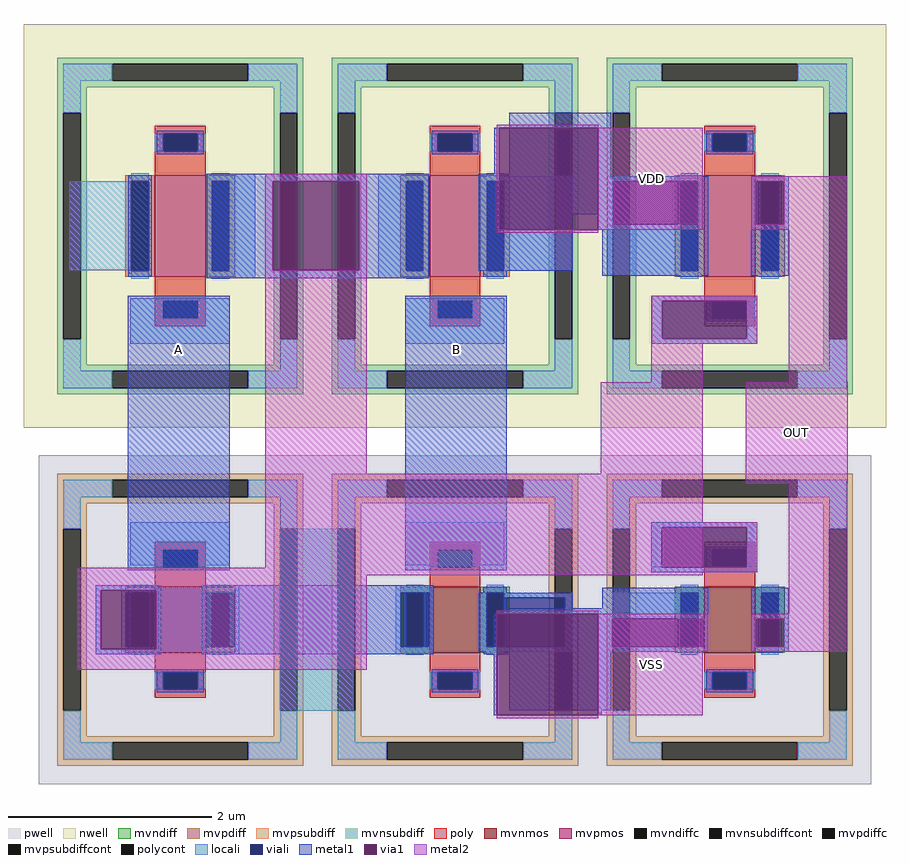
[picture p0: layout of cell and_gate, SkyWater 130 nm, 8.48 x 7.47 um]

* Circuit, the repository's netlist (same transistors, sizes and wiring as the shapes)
* NGSPICE file created from and_gate.ext - technology: sky130A

.subckt sky130_fd_pr__nfet_g5v0d10v5_CYDA8L a_n108_n65# a_n50_n153# a_n242_n287# a_50_n65#
X0 a_50_n65# a_n50_n153# a_n108_n65# a_n242_n287# sky130_fd_pr__nfet_g5v0d10v5 ad=0.1885 pd=1.88 as=0.1885 ps=1.88 w=0.65 l=0.5
.ends

.subckt sky130_fd_pr__pfet_g5v0d10v5_KLAZY6 a_n50_n197# a_50_n100# w_n308_n397# a_n108_n100#
X0 a_50_n100# a_n50_n197# a_n108_n100# w_n308_n397# sky130_fd_pr__pfet_g5v0d10v5 ad=0.29 pd=2.58 as=0.29 ps=2.58 w=1 l=0.5
.ends

.subckt nand_gate VDD A OUT B VSS
XXM1 OUT A VSS li_350_255# sky130_fd_pr__nfet_g5v0d10v5_CYDA8L
XXM2 li_350_255# B VSS VSS sky130_fd_pr__nfet_g5v0d10v5_CYDA8L
XXM3 A OUT VDD VDD sky130_fd_pr__pfet_g5v0d10v5_KLAZY6
XXM4 B VDD VDD OUT sky130_fd_pr__pfet_g5v0d10v5_KLAZY6
.ends

.subckt inverter VDD IN OUT VSS
XXM1 VSS IN VSS OUT sky130_fd_pr__nfet_g5v0d10v5_CYDA8L
XXM2 IN OUT VDD VDD sky130_fd_pr__pfet_g5v0d10v5_KLAZY6
.ends

.subckt and_gate VDD OUT A B VSS
Xx1 VDD A x2/IN B VSS nand_gate
Xx2 VDD x2/IN OUT VSS inverter
.ends

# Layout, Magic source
magic
tech sky130A
magscale 1 2
<< metal1 >>
rect 955 1290 1155 1320
rect 925 1090 935 1290
rect 1130 1090 1155 1290
rect 205 590 405 955
rect 750 590 950 955
rect 955 335 1155 345
rect 924 135 930 335
rect 1130 145 1155 335
rect 1130 135 1136 145
<< via1 >>
rect 935 1090 1130 1290
rect 930 135 1130 335
<< metal2 >>
rect 930 1290 1130 1296
rect 930 1090 935 1290
rect 1130 1090 1335 1290
rect 930 1084 1130 1090
rect 1135 610 1335 790
rect 475 410 1335 610
rect 1420 590 1620 790
rect 475 225 675 410
rect 930 335 1130 341
rect 1130 135 1335 335
rect 930 129 1130 135
use nand_gate  x1
transform 1 0 0 0 1 0
box 0 0 1156 1494
use inverter  x2
transform 1 0 1080 0 1 0
box 0 0 616 1494
<< labels >>
flabel metal2 1135 1090 1335 1290 0 FreeSans 256 0 0 0 VDD
port 1 nsew
flabel metal2 1135 135 1335 335 0 FreeSans 256 0 0 0 VSS
port 5 nsew
flabel metal1 205 755 405 955 0 FreeSans 256 0 0 0 A
port 3 nsew
flabel metal1 750 755 950 955 0 FreeSans 256 0 0 0 B
port 4 nsew
flabel metal2 1420 590 1620 790 0 FreeSans 256 0 0 0 OUT
port 2 nsew
<< end >>

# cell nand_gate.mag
magic
tech sky130A
magscale 1 2
<< locali >>
rect 90 1010 246 1185
rect 360 994 455 1200
rect 697 994 796 1200
rect 895 1009 1079 1195
rect 210 865 405 955
rect 750 865 945 955
rect 210 430 405 515
rect 274 426 342 430
rect 192 376 266 391
rect 192 270 202 376
rect 256 270 266 376
rect 192 255 266 270
rect 350 376 424 391
rect 350 270 360 376
rect 414 270 424 376
rect 350 255 424 270
rect 504 144 648 502
rect 750 430 945 515
rect 814 426 882 430
rect 732 376 806 391
rect 732 270 742 376
rect 796 270 806 376
rect 732 255 806 270
rect 895 270 910 376
rect 944 366 1079 376
rect 1064 270 1079 366
rect 895 260 1079 270
<< viali >>
rect 202 270 256 376
rect 360 270 414 376
rect 742 270 796 376
rect 910 366 944 376
rect 910 270 1064 366
<< metal1 >>
rect 955 1200 1155 1320
rect 360 1185 796 1200
rect 360 1010 490 1185
rect 660 1010 796 1185
rect 360 994 796 1010
rect 895 1120 1155 1200
rect 895 1009 1079 1120
rect 205 420 405 960
rect 750 420 950 960
rect 142 381 271 391
rect 142 265 152 381
rect 261 265 271 381
rect 142 255 271 265
rect 350 376 806 391
rect 350 270 360 376
rect 414 270 742 376
rect 796 270 806 376
rect 350 255 806 270
rect 895 270 910 376
rect 944 366 1079 376
rect 1064 345 1079 366
rect 1064 270 1155 345
rect 895 260 1155 270
rect 905 255 1155 260
rect 955 145 1155 255
<< via1 >>
rect 490 1010 660 1185
rect 152 376 261 381
rect 152 270 202 376
rect 202 270 256 376
rect 256 270 261 376
rect 152 265 261 270
<< metal2 >>
rect 475 1185 675 1200
rect 475 1010 490 1185
rect 660 1010 675 1185
rect 475 425 675 1010
rect 105 381 675 425
rect 105 265 152 381
rect 261 265 675 381
rect 105 225 675 265
use sky130_fd_pr__nfet_g5v0d10v5_CYDA8L  XM1
transform 1 0 308 0 1 323
box -278 -323 278 323
use sky130_fd_pr__nfet_g5v0d10v5_CYDA8L  XM2
transform 1 0 848 0 1 323
box -278 -323 278 323
use sky130_fd_pr__pfet_g5v0d10v5_KLAZY6  XM3
transform 1 0 308 0 1 1097
box -308 -397 308 397
use sky130_fd_pr__pfet_g5v0d10v5_KLAZY6  XM4
transform 1 0 848 0 1 1097
box -308 -397 308 397
<< labels >>
flabel metal1 205 590 405 790 0 FreeSans 256 0 0 0 A
port 2 nsew
flabel metal1 750 590 950 790 0 FreeSans 256 0 0 0 B
port 4 nsew
flabel metal2 475 225 675 425 0 FreeSans 256 0 0 0 OUT
port 3 nsew
flabel metal1 955 145 1155 345 0 FreeSans 256 0 0 0 VSS
port 5 nsew
flabel metal1 955 1120 1155 1320 0 FreeSans 256 0 0 0 VDD
port 1 nsew
<< end >>

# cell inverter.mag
magic
tech sky130A
magscale 1 2
<< locali >>
rect 67 999 246 1195
rect 175 875 342 950
rect 154 426 362 515
rect 77 270 246 376
<< metal1 >>
rect 57 1185 266 1195
rect 57 1100 80 1185
rect 245 1100 266 1185
rect 57 999 266 1100
rect 350 1185 424 1195
rect 350 1100 360 1185
rect 414 1100 424 1185
rect 350 999 424 1100
rect 155 950 362 960
rect 155 875 175 950
rect 342 875 362 950
rect 155 865 362 875
rect 154 505 362 515
rect 154 426 174 505
rect 342 426 362 505
rect 154 416 362 426
rect 57 325 266 386
rect 57 270 77 325
rect 256 270 266 325
rect 57 260 266 270
rect 350 325 424 386
rect 350 270 360 325
rect 414 270 424 325
rect 350 260 424 270
<< via1 >>
rect 80 1100 245 1185
rect 360 1100 414 1185
rect 175 875 342 950
rect 174 426 342 505
rect 77 270 256 325
rect 360 270 414 325
<< metal2 >>
rect 55 1185 255 1290
rect 55 1100 80 1185
rect 245 1100 255 1185
rect 55 1090 255 1100
rect 350 1185 539 1195
rect 350 1100 360 1185
rect 414 1100 539 1185
rect 350 1090 539 1100
rect 154 950 362 960
rect 154 875 175 950
rect 342 875 362 950
rect 154 865 362 875
rect 154 790 255 865
rect 424 790 539 1090
rect 55 590 255 790
rect 340 590 540 790
rect 154 515 255 590
rect 154 505 362 515
rect 154 426 174 505
rect 342 426 362 505
rect 154 416 362 426
rect 424 335 539 590
rect 55 325 266 335
rect 55 270 77 325
rect 256 270 266 325
rect 55 260 266 270
rect 350 325 539 335
rect 350 270 360 325
rect 414 270 539 325
rect 350 260 539 270
rect 55 135 255 260
use sky130_fd_pr__nfet_g5v0d10v5_CYDA8L  XM1
transform 1 0 308 0 1 323
box -278 -323 278 323
use sky130_fd_pr__pfet_g5v0d10v5_KLAZY6  XM2
transform 1 0 308 0 1 1097
box -308 -397 308 397
<< labels >>
flabel metal2 55 590 255 790 0 FreeSans 256 0 0 0 IN
port 2 nsew
flabel metal2 55 1090 255 1290 0 FreeSans 256 0 0 0 VDD
port 1 nsew
flabel metal2 55 135 255 335 0 FreeSans 256 0 0 0 VSS
port 4 nsew
flabel metal2 340 590 540 790 0 FreeSans 256 0 0 0 OUT
port 3 nsew
<< end >>

# cell sky130_fd_pr__nfet_g5v0d10v5_CYDA8L: kit device sky130_fd_pr__nfet_g5v0d10v5, w 0.65 l 0.5 m 1 nf 1 diffcov 100 polycov 100 guard 1 glc 1 grc 1 gtc 1 gbc 1 tbcov 100 rlcov 100 topc 1 botc 1 poverlap 0 doverlap 1 lmin 0.50 wmin 0.42 compatible {sky130_fd_pr__nfet_01v8 sky130_fd_pr__nfet_01v8_lvt sky130_fd_bs_flash__special_sonosfet_star sky130_fd_pr__nfet_g5v0d10v5 sky130_fd_pr__nfet_05v0_nvt sky130_fd_pr__nfet_03v3_nvt} full_metal 1 viasrc 100 viadrn 100 viagate 100 viagb 0 viagr 0 viagl 0 viagt 0

# cell sky130_fd_pr__pfet_g5v0d10v5_KLAZY6: kit device sky130_fd_pr__pfet_g5v0d10v5, w 1.0 l 0.5 m 1 nf 1 diffcov 100 polycov 100 guard 1 glc 1 grc 1 gtc 1 gbc 1 tbcov 100 rlcov 100 topc 1 botc 1 poverlap 0 doverlap 1 lmin 0.50 wmin 0.42 compatible {sky130_fd_pr__pfet_01v8 sky130_fd_pr__pfet_01v8_lvt sky130_fd_pr__pfet_01v8_hvt sky130_fd_pr__pfet_g5v0d10v5} full_metal 1 viasrc 100 viadrn 100 viagate 100 viagb 0 viagr 0 viagl 0 viagt 0
